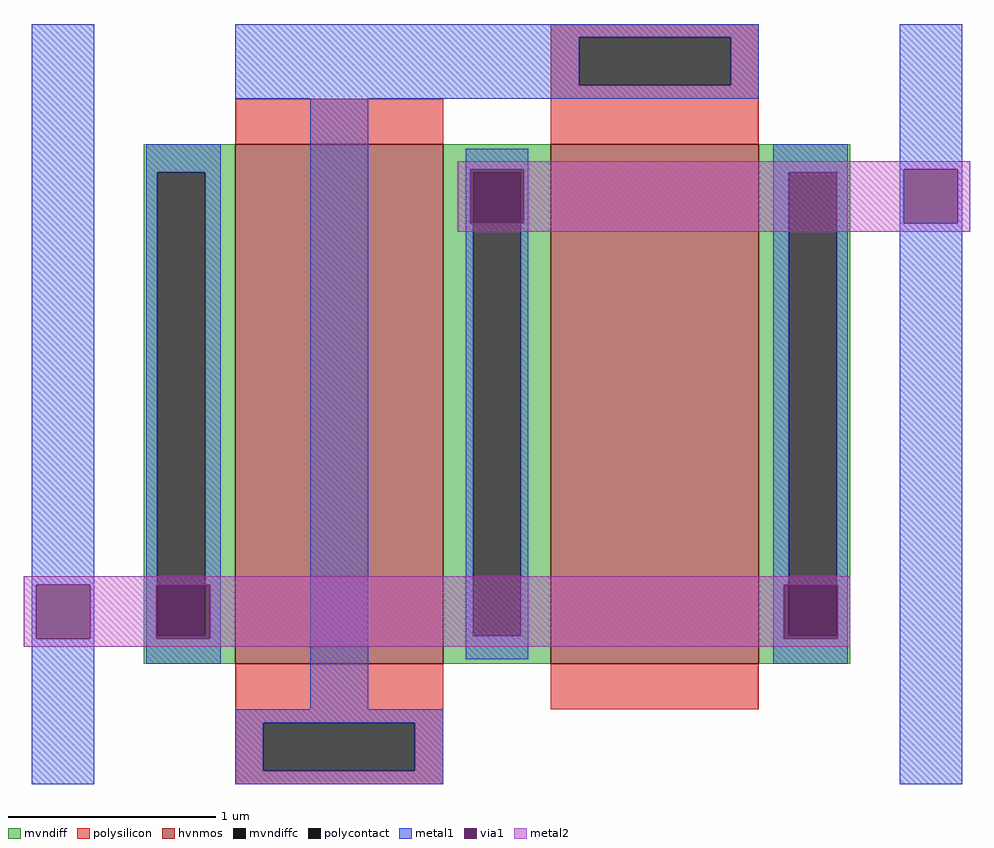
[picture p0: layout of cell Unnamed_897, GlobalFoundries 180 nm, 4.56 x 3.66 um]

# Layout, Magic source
magic
tech gf180mcuD
magscale 1 10
<< hvnmos >>
rect 14 0 214 500
rect 318 0 518 500
<< mvndiff >>
rect -74 473 14 500
rect -74 27 -61 473
rect -15 27 14 473
rect -74 0 14 27
rect 214 473 318 500
rect 214 27 243 473
rect 289 27 318 473
rect 214 0 318 27
rect 518 473 606 500
rect 518 27 547 473
rect 593 27 606 473
rect 518 0 606 27
<< mvndiffc >>
rect -61 27 -15 473
rect 243 27 289 473
rect 547 27 593 473
<< polysilicon >>
rect 318 603 518 616
rect 318 557 345 603
rect 491 557 518 603
rect 14 500 214 544
rect 318 500 518 557
rect 14 -57 214 0
rect 318 -44 518 0
rect 14 -103 41 -57
rect 187 -103 214 -57
rect 14 -116 214 -103
<< polycontact >>
rect 345 557 491 603
rect 41 -103 187 -57
<< metal1 >>
rect -182 76 -122 616
rect 14 603 518 616
rect 14 557 345 603
rect 491 557 518 603
rect 14 544 518 557
rect -182 24 -178 76
rect -126 24 -122 76
rect -182 -116 -122 24
rect -72 473 0 500
rect -72 76 -61 473
rect -15 76 0 473
rect -72 24 -62 76
rect -10 24 0 76
rect -72 0 0 24
rect 86 -44 142 544
rect 236 476 296 496
rect 236 424 240 476
rect 292 424 296 476
rect 236 27 243 424
rect 289 27 296 424
rect 236 4 296 27
rect 532 473 604 500
rect 532 76 547 473
rect 593 76 604 473
rect 532 24 542 76
rect 594 24 604 76
rect 532 0 604 24
rect 654 476 714 616
rect 654 424 658 476
rect 710 424 714 476
rect 14 -57 214 -44
rect 14 -103 41 -57
rect 187 -103 214 -57
rect 14 -116 214 -103
rect 654 -116 714 424
<< via1 >>
rect -178 24 -126 76
rect -62 27 -61 76
rect -61 27 -15 76
rect -15 27 -10 76
rect -62 24 -10 27
rect 240 473 292 476
rect 240 424 243 473
rect 243 424 289 473
rect 289 424 292 473
rect 542 27 547 76
rect 547 27 593 76
rect 593 27 594 76
rect 542 24 594 27
rect 658 424 710 476
<< metal2 >>
rect 228 476 722 484
rect 228 424 240 476
rect 292 424 658 476
rect 710 424 722 476
rect 228 416 722 424
rect -190 76 606 84
rect -190 24 -178 76
rect -126 24 -62 76
rect -10 24 542 76
rect 594 24 606 76
rect -190 16 606 24
<< end >>
